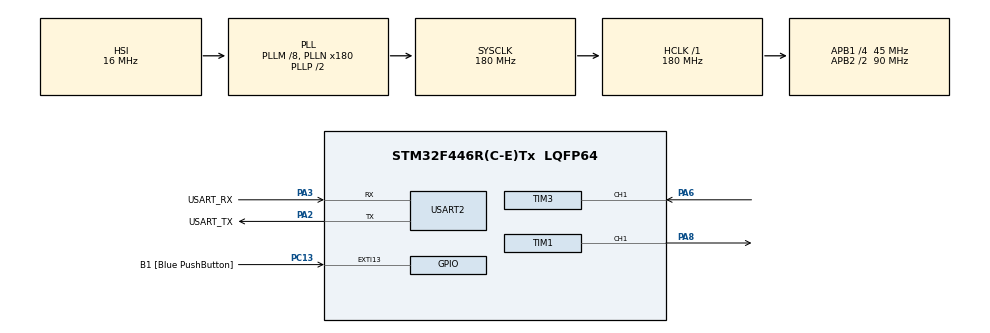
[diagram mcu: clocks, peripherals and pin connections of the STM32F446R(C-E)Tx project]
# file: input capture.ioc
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Mcu.Family=STM32F4
Mcu.Name=STM32F446R(C-E)Tx
Mcu.Package=LQFP64
NVIC.PriorityGroup=NVIC_PRIORITYGROUP_0
NVIC.TIM3_IRQn=true\:0\:0\:false\:false\:true\:true\:true\:true
PA13.GPIO_Label=TMS
PA13.Mode=Serial_Wire
PA13.Signal=SYS_JTMS-SWDIO
PA14.GPIO_Label=TCK
PA14.Mode=Serial_Wire
PA14.Signal=SYS_JTCK-SWCLK
PA2.GPIO_Label=USART_TX
PA2.Mode=Asynchronous
PA2.Signal=USART2_TX
PA3.GPIO_Label=USART_RX
PA3.Mode=Asynchronous
PA3.Signal=USART2_RX
PA5.Signal=S_TIM2_CH1_ETR
PA6.Signal=S_TIM3_CH1
PA8.Signal=S_TIM1_CH1
PB3.GPIO_Label=SWO
PB3.Signal=SYS_JTDO-SWO
PC13.GPIO_Label=B1 [Blue PushButton]
PC13.GPIO_ModeDefaultEXTI=GPIO_MODE_IT_FALLING
PC13.Signal=GPXTI13
PC14-OSC32_IN.Mode=LSE-External-Oscillator
PC14-OSC32_IN.Signal=RCC_OSC32_IN
PC15-OSC32_OUT.Mode=LSE-External-Oscillator
PC15-OSC32_OUT.Signal=RCC_OSC32_OUT
PH0-OSC_IN.Mode=HSE-External-Oscillator
PH0-OSC_IN.Signal=RCC_OSC_IN
PH1-OSC_OUT.Mode=HSE-External-Oscillator
PH1-OSC_OUT.Signal=RCC_OSC_OUT
ProjectManager.HeapSize=0x200
ProjectManager.StackSize=0x400
ProjectManager.TargetToolchain=STM32CubeIDE
RCC.48MHZClocksFreq_Value=84000000
RCC.AHBFreq_Value=180000000
RCC.APB1CLKDivider=RCC_HCLK_DIV4
RCC.APB1Freq_Value=45000000
RCC.APB1TimFreq_Value=90000000
RCC.APB2CLKDivider=RCC_HCLK_DIV2
RCC.APB2Freq_Value=90000000
RCC.APB2TimFreq_Value=180000000
RCC.CortexFreq_Value=180000000
RCC.FLatency-AdvancedSettings=FLASH_LATENCY_5
RCC.HCLKFreq_Value=180000000
RCC.HSE_VALUE=8000000
RCC.HSI_VALUE=16000000
RCC.PLLM=8
RCC.PLLN=180
RCC.SYSCLKFreq_VALUE=180000000
RCC.SYSCLKSource=RCC_SYSCLKSOURCE_PLLCLK
RCC.USBFreq_Value=180000000
RCC.VCOOutputFreq_Value=360000000
SH.S_TIM1_CH1.0=TIM1_CH1,PWM Generation1 CH1
SH.S_TIM2_CH1_ETR.0=TIM2_CH1
SH.S_TIM3_CH1.0=TIM3_CH1,Input_Capture1_from_TI1
TIM1.Channel-PWM\ Generation1\ CH1=TIM_CHANNEL_1
TIM1.Period=100
TIM1.Prescaler=1800-1
TIM3.Channel-Input_Capture1_from_TI1=TIM_CHANNEL_1
TIM3.CounterMode=TIM_COUNTERMODE_UP
TIM3.ICPolarity_CH1=TIM_INPUTCHANNELPOLARITY_RISING
TIM3.Period=0xffff
TIM3.Prescaler=90-1
USART2.VirtualMode=VM_ASYNC
VP_TIM1_VS_ClockSourceINT.Mode=Internal
VP_TIM3_VS_ClockSourceINT.Mode=Internal
board=NUCLEO-F446RE

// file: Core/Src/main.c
/* USER CODE BEGIN Header */
/**
  ******************************************************************************
  * @file           : main.c
  * @brief          : Main program body
  ******************************************************************************
  * @attention
  *
  * Copyright (c) 2025 STMicroelectronics.
  * All rights reserved.
  *
  * This software is licensed under terms that can be found in the LICENSE file
  * in the root directory of this software component.
  * If no LICENSE file comes with this software, it is provided AS-IS.
  *
  ******************************************************************************
  */
/* USER CODE END Header */
#include "main.h"

TIM_HandleTypeDef htim1;
TIM_HandleTypeDef htim3;

UART_HandleTypeDef huart2;

void SystemClock_Config(void);
static void MX_GPIO_Init(void);
static void MX_USART2_UART_Init(void);
static void MX_TIM3_Init(void);
static void MX_TIM1_Init(void);

/* USER CODE BEGIN 0 */

#define TIMCLOCK   90000000
#define PRESCALAR  90

uint32_t IC_Val1 = 0;
uint32_t IC_Val2 = 0;
uint32_t Difference = 0;
int Is_First_Captured = 0;

/* Measure Frequency */
int frequency = 0;

void HAL_TIM_IC_CaptureCallback(TIM_HandleTypeDef *htim)
{
	if (htim->Channel == HAL_TIM_ACTIVE_CHANNEL_1)
	{
		if (Is_First_Captured==0) // if the first rising edge is not captured
		{
			IC_Val1 = HAL_TIM_ReadCapturedValue(htim, TIM_CHANNEL_1); // read the first value
			Is_First_Captured = 1;  // set the first captured as true
		}

		else   // If the first rising edge is captured, now we will capture the second edge
		{
			IC_Val2 = HAL_TIM_ReadCapturedValue(htim, TIM_CHANNEL_1);  // read second value

			if (IC_Val2 > IC_Val1)
			{
				Difference = IC_Val2-IC_Val1;
			}
			float refClock = TIMCLOCK/(PRESCALAR);

			frequency = refClock/Difference;

			__HAL_TIM_SET_COUNTER(htim, 0);  // reset the counter
			Is_First_Captured = 0; // set it back to false
		}
	}
}

/* USER CODE END 0 */
uint8_t freq[10];
int main(void)
{

  /* MCU Configuration--------------------------------------------------------*/

  /* Reset of all peripherals, Initializes the Flash interface and the Systick. */
  HAL_Init();

  /* Configure the system clock */
  SystemClock_Config();

  /* Initialize all configured peripherals */
  MX_GPIO_Init();
  MX_USART2_UART_Init();
  MX_TIM3_Init();
  MX_TIM1_Init();
  /* USER CODE BEGIN 2 */
  TIM1->CCR1 = 50;
  HAL_TIM_PWM_Start(&htim1, TIM_CHANNEL_1);
  HAL_TIM_IC_Start_IT(&htim3, TIM_CHANNEL_1);
  /* USER CODE END 2 */

  /* Infinite loop */
  /* USER CODE BEGIN WHILE */
  while (1)
  {
	  sprintf(freq,"%d",frequency);
    /* USER CODE END WHILE */
	  HAL_UART_Transmit(&huart2, freq, 10, 20);
  }
}

void SystemClock_Config(void)
{
  RCC_OscInitTypeDef RCC_OscInitStruct = {0};
  RCC_ClkInitTypeDef RCC_ClkInitStruct = {0};

  /** Configure the main internal regulator output voltage
  */
  __HAL_RCC_PWR_CLK_ENABLE();
  __HAL_PWR_VOLTAGESCALING_CONFIG(PWR_REGULATOR_VOLTAGE_SCALE1);

  /** Initializes the RCC Oscillators according to the specified parameters
  * in the RCC_OscInitTypeDef structure.
  */
  RCC_OscInitStruct.OscillatorType = RCC_OSCILLATORTYPE_HSI;
  RCC_OscInitStruct.HSIState = RCC_HSI_ON;
  RCC_OscInitStruct.HSICalibrationValue = RCC_HSICALIBRATION_DEFAULT;
  RCC_OscInitStruct.PLL.PLLState = RCC_PLL_ON;
  RCC_OscInitStruct.PLL.PLLSource = RCC_PLLSOURCE_HSI;
  RCC_OscInitStruct.PLL.PLLM = 8;
  RCC_OscInitStruct.PLL.PLLN = 180;
  RCC_OscInitStruct.PLL.PLLP = RCC_PLLP_DIV2;
  RCC_OscInitStruct.PLL.PLLQ = 2;
  RCC_OscInitStruct.PLL.PLLR = 2;
  if (HAL_RCC_OscConfig(&RCC_OscInitStruct) != HAL_OK)
  {
    Error_Handler();
  }

  /** Activate the Over-Drive mode
  */
  if (HAL_PWREx_EnableOverDrive() != HAL_OK)
  {
    Error_Handler();
  }

  /** Initializes the CPU, AHB and APB buses clocks
  */
  RCC_ClkInitStruct.ClockType = RCC_CLOCKTYPE_HCLK|RCC_CLOCKTYPE_SYSCLK
                              |RCC_CLOCKTYPE_PCLK1|RCC_CLOCKTYPE_PCLK2;
  RCC_ClkInitStruct.SYSCLKSource = RCC_SYSCLKSOURCE_PLLCLK;
  RCC_ClkInitStruct.AHBCLKDivider = RCC_SYSCLK_DIV1;
  RCC_ClkInitStruct.APB1CLKDivider = RCC_HCLK_DIV4;
  RCC_ClkInitStruct.APB2CLKDivider = RCC_HCLK_DIV2;

  if (HAL_RCC_ClockConfig(&RCC_ClkInitStruct, FLASH_LATENCY_5) != HAL_OK)
  {
    Error_Handler();
  }
}

static void MX_TIM1_Init(void)
{

  TIM_ClockConfigTypeDef sClockSourceConfig = {0};
  TIM_MasterConfigTypeDef sMasterConfig = {0};
  TIM_OC_InitTypeDef sConfigOC = {0};
  TIM_BreakDeadTimeConfigTypeDef sBreakDeadTimeConfig = {0};

  htim1.Instance = TIM1;
  htim1.Init.Prescaler = 1800-1;
  htim1.Init.CounterMode = TIM_COUNTERMODE_UP;
  htim1.Init.Period = 100-1;
  htim1.Init.ClockDivision = TIM_CLOCKDIVISION_DIV1;
  htim1.Init.RepetitionCounter = 0;
  htim1.Init.AutoReloadPreload = TIM_AUTORELOAD_PRELOAD_DISABLE;
  if (HAL_TIM_Base_Init(&htim1) != HAL_OK)
  {
    Error_Handler();
  }
  sClockSourceConfig.ClockSource = TIM_CLOCKSOURCE_INTERNAL;
  if (HAL_TIM_ConfigClockSource(&htim1, &sClockSourceConfig) != HAL_OK)
  {
    Error_Handler();
  }
  if (HAL_TIM_PWM_Init(&htim1) != HAL_OK)
  {
    Error_Handler();
  }
  sMasterConfig.MasterOutputTrigger = TIM_TRGO_RESET;
  sMasterConfig.MasterSlaveMode = TIM_MASTERSLAVEMODE_DISABLE;
  if (HAL_TIMEx_MasterConfigSynchronization(&htim1, &sMasterConfig) != HAL_OK)
  {
    Error_Handler();
  }
  sConfigOC.OCMode = TIM_OCMODE_PWM1;
  sConfigOC.Pulse = 0;
  sConfigOC.OCPolarity = TIM_OCPOLARITY_HIGH;
  sConfigOC.OCNPolarity = TIM_OCNPOLARITY_HIGH;
  sConfigOC.OCFastMode = TIM_OCFAST_DISABLE;
  sConfigOC.OCIdleState = TIM_OCIDLESTATE_RESET;
  sConfigOC.OCNIdleState = TIM_OCNIDLESTATE_RESET;
  if (HAL_TIM_PWM_ConfigChannel(&htim1, &sConfigOC, TIM_CHANNEL_1) != HAL_OK)
  {
    Error_Handler();
  }
  sBreakDeadTimeConfig.OffStateRunMode = TIM_OSSR_DISABLE;
  sBreakDeadTimeConfig.OffStateIDLEMode = TIM_OSSI_DISABLE;
  sBreakDeadTimeConfig.LockLevel = TIM_LOCKLEVEL_OFF;
  sBreakDeadTimeConfig.DeadTime = 0;
  sBreakDeadTimeConfig.BreakState = TIM_BREAK_DISABLE;
  sBreakDeadTimeConfig.BreakPolarity = TIM_BREAKPOLARITY_HIGH;
  sBreakDeadTimeConfig.AutomaticOutput = TIM_AUTOMATICOUTPUT_DISABLE;
  if (HAL_TIMEx_ConfigBreakDeadTime(&htim1, &sBreakDeadTimeConfig) != HAL_OK)
  {
    Error_Handler();
  }
  HAL_TIM_MspPostInit(&htim1);

}

static void MX_TIM3_Init(void)
{

  TIM_ClockConfigTypeDef sClockSourceConfig = {0};
  TIM_MasterConfigTypeDef sMasterConfig = {0};
  TIM_IC_InitTypeDef sConfigIC = {0};

  htim3.Instance = TIM3;
  htim3.Init.Prescaler = 90-1;
  htim3.Init.CounterMode = TIM_COUNTERMODE_UP;
  htim3.Init.Period = 0xffff;
  htim3.Init.ClockDivision = TIM_CLOCKDIVISION_DIV1;
  htim3.Init.AutoReloadPreload = TIM_AUTORELOAD_PRELOAD_DISABLE;
  if (HAL_TIM_Base_Init(&htim3) != HAL_OK)
  {
    Error_Handler();
  }
  sClockSourceConfig.ClockSource = TIM_CLOCKSOURCE_INTERNAL;
  if (HAL_TIM_ConfigClockSource(&htim3, &sClockSourceConfig) != HAL_OK)
  {
    Error_Handler();
  }
  if (HAL_TIM_IC_Init(&htim3) != HAL_OK)
  {
    Error_Handler();
  }
  sMasterConfig.MasterOutputTrigger = TIM_TRGO_RESET;
  sMasterConfig.MasterSlaveMode = TIM_MASTERSLAVEMODE_DISABLE;
  if (HAL_TIMEx_MasterConfigSynchronization(&htim3, &sMasterConfig) != HAL_OK)
  {
    Error_Handler();
  }
  sConfigIC.ICPolarity = TIM_INPUTCHANNELPOLARITY_RISING;
  sConfigIC.ICSelection = TIM_ICSELECTION_DIRECTTI;
  sConfigIC.ICPrescaler = TIM_ICPSC_DIV1;
  sConfigIC.ICFilter = 0;
  if (HAL_TIM_IC_ConfigChannel(&htim3, &sConfigIC, TIM_CHANNEL_1) != HAL_OK)
  {
    Error_Handler();
  }

}

static void MX_USART2_UART_Init(void)
{

  huart2.Instance = USART2;
  huart2.Init.BaudRate = 115200;
  huart2.Init.WordLength = UART_WORDLENGTH_8B;
  huart2.Init.StopBits = UART_STOPBITS_1;
  huart2.Init.Parity = UART_PARITY_NONE;
  huart2.Init.Mode = UART_MODE_TX_RX;
  huart2.Init.HwFlowCtl = UART_HWCONTROL_NONE;
  huart2.Init.OverSampling = UART_OVERSAMPLING_16;
  if (HAL_UART_Init(&huart2) != HAL_OK)
  {
    Error_Handler();
  }

}

static void MX_GPIO_Init(void)
{
  GPIO_InitTypeDef GPIO_InitStruct = {0};

  /* GPIO Ports Clock Enable */
  __HAL_RCC_GPIOC_CLK_ENABLE();
  __HAL_RCC_GPIOH_CLK_ENABLE();
  __HAL_RCC_GPIOA_CLK_ENABLE();
  __HAL_RCC_GPIOB_CLK_ENABLE();

  /*Configure GPIO pin : B1_Pin */
  GPIO_InitStruct.Pin = B1_Pin;
  GPIO_InitStruct.Mode = GPIO_MODE_IT_FALLING;
  GPIO_InitStruct.Pull = GPIO_NOPULL;
  HAL_GPIO_Init(B1_GPIO_Port, &GPIO_InitStruct);

  /*Configure GPIO pin : PA5 */
  GPIO_InitStruct.Pin = GPIO_PIN_5;
  GPIO_InitStruct.Mode = GPIO_MODE_AF_PP;
  GPIO_InitStruct.Pull = GPIO_NOPULL;
  GPIO_InitStruct.Speed = GPIO_SPEED_FREQ_LOW;
  GPIO_InitStruct.Alternate = GPIO_AF1_TIM2;
  HAL_GPIO_Init(GPIOA, &GPIO_InitStruct);

}

void Error_Handler(void)
{
  __disable_irq();
  while (1)
  {
  }
}
